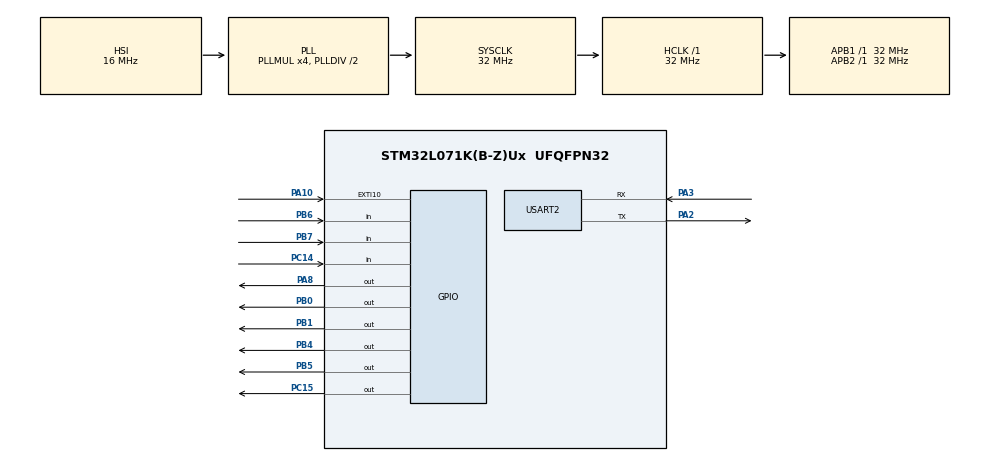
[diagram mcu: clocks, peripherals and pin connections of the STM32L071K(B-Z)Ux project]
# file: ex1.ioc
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Dma.MEMTOMEM.0.Direction=DMA_MEMORY_TO_MEMORY
Dma.MEMTOMEM.0.Instance=DMA1_Channel1
Dma.MEMTOMEM.0.MemDataAlignment=DMA_MDATAALIGN_BYTE
Dma.MEMTOMEM.0.MemInc=DMA_MINC_ENABLE
Dma.MEMTOMEM.0.Mode=DMA_NORMAL
Dma.MEMTOMEM.0.PeriphDataAlignment=DMA_PDATAALIGN_BYTE
Dma.MEMTOMEM.0.PeriphInc=DMA_PINC_ENABLE
Dma.MEMTOMEM.0.Priority=DMA_PRIORITY_LOW
Dma.Request0=MEMTOMEM
Dma.Request1=USART2_RX
Dma.USART2_RX.1.Direction=DMA_PERIPH_TO_MEMORY
Dma.USART2_RX.1.Instance=DMA1_Channel5
Dma.USART2_RX.1.MemDataAlignment=DMA_MDATAALIGN_BYTE
Dma.USART2_RX.1.MemInc=DMA_MINC_ENABLE
Dma.USART2_RX.1.Mode=DMA_CIRCULAR
Dma.USART2_RX.1.PeriphDataAlignment=DMA_PDATAALIGN_BYTE
Dma.USART2_RX.1.PeriphInc=DMA_PINC_DISABLE
Dma.USART2_RX.1.Priority=DMA_PRIORITY_LOW
Mcu.Family=STM32L0
Mcu.Name=STM32L071K(B-Z)Ux
Mcu.Package=UFQFPN32
NVIC.DMA1_Channel1_IRQn=true\:0\:0\:false\:false\:true\:true\:true
NVIC.DMA1_Channel4_5_6_7_IRQn=true\:0\:0\:false\:false\:true\:false\:true
NVIC.EXTI4_15_IRQn=true\:0\:0\:false\:false\:true\:true\:true
NVIC.TIM6_IRQn=true\:0\:0\:false\:false\:true\:true\:true
NVIC.USART2_IRQn=true\:0\:0\:false\:false\:true\:true\:true
PA10.Signal=GPXTI10
PA13.Mode=Serial_Wire
PA13.Signal=SYS_SWDIO
PA14.Mode=Serial_Wire
PA14.Signal=SYS_SWCLK
PA2.Mode=Asynchronous
PA2.Signal=USART2_TX
PA3.Mode=Asynchronous
PA3.Signal=USART2_RX
PA8.Signal=GPIO_Output
PB0.Signal=GPIO_Output
PB1.Signal=GPIO_Output
PB4.Signal=GPIO_Output
PB5.Signal=GPIO_Output
PB6.Signal=GPIO_Input
PB7.Signal=GPIO_Input
PC14-OSC32_IN.Signal=GPIO_Input
PC15-OSC32_OUT.Signal=GPIO_Output
ProjectManager.HeapSize=0x200
ProjectManager.StackSize=0x400
ProjectManager.TargetToolchain=MDK-ARM V5
RCC.AHBFreq_Value=32000000
RCC.APB1Freq_Value=32000000
RCC.APB1TimFreq_Value=32000000
RCC.APB2Freq_Value=32000000
RCC.APB2TimFreq_Value=32000000
RCC.HCLKFreq_Value=32000000
RCC.HSI16_VALUE=16000000
RCC.HSI_VALUE=16000000
RCC.LSE_VALUE=32768
RCC.MSI_VALUE=2097000
RCC.PLLMUL=RCC_PLLMUL_4
RCC.SYSCLKFreq_VALUE=32000000
RCC.SYSCLKSource=RCC_SYSCLKSOURCE_PLLCLK
RCC.VCOOutputFreq_Value=64000000
RTC.Format=RTC_FORMAT_BIN
RTC.SynchPrediv=307
TIM6.Period=999
TIM6.Prescaler=31
USART2.VirtualMode-Asynchronous=VM_ASYNC
VP_CRC_VS_CRC.Mode=CRC_Activate
VP_RTC_VS_RTC_Activate.Mode=RTC_Enabled
VP_RTC_VS_RTC_Calendar.Mode=RTC_Calendar
VP_TIM6_VS_ClockSourceINT.Mode=Enable_Timer
board=custom

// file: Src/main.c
/* USER CODE BEGIN Header */
/**
  ******************************************************************************
  * @file           : main.c
  * @brief          : Main program body
  ******************************************************************************
  * @attention
  *
  * <h2><center>&copy; Copyright (c) 2019 STMicroelectronics.
  * All rights reserved.</center></h2>
  *
  * This software component is licensed by ST under BSD 3-Clause license,
  * the "License"; You may not use this file except in compliance with the
  * License. You may obtain a copy of the License at:
  *                        opensource.org/licenses/BSD-3-Clause
  *
  ******************************************************************************
  */
/* USER CODE END Header */

#include "main.h"
#include "crc.h"
#include "dma.h"
#include "rtc.h"
#include "tim.h"
#include "usart.h"
#include "gpio.h"

/* USER CODE BEGIN Includes */
#include "stm32l0xx_hal.h"
#include "zm4xx_gpio.h"
#include "spi.h"
#include "timer.h"
#include "stddef.h"
#include "sx127x_lora.h"

/* USER CODE END Includes */

/* USER CODE BEGIN PTD */
#define FREQ  (433000000)
void SystemClock_Config(void);
void Hardware_Init(void);
radio_handle_t  handle;
int ret = RADIO_RET_OK;

    uint16_t len = 0;
		uint8_t rx[50];
		uint8_t tx = 0x55;
		uint8_t cntr = 0;
	unsigned int time_i=0,time_100ms=1,time_800ms=1;
	unsigned int lora_flag=0;
/* USER CODE END PTD */

void SystemClock_Config(void);

/* USER CODE BEGIN 0 */
void Task_BrdInit(void)
{
    HAL_GPIO_WritePin(GPIOC, GPIO_PIN_15, GPIO_PIN_SET);

    OLED_PowerControl(ENABLE);

    HAL_Delay(200);
    OLED_Init();
    OLED_Clear();

    OLED_ShowString(0, 0, (unsigned char *)"                ", 16);
    OLED_ShowString(0, 2, (unsigned char *)"                ", 16);
}
void LoRa_Init(void)
{

	handle = radio_zm4xx_inst_init(spi_recv_byte,spi_send_byte,zm4xx_rst_pin_set,zm4xx_sel_pin_set,delay_ms,delay_us);

	if(handle != NULL){
		if(RADIO_RET_OK == radio_freq_set(handle, FREQ)){
				HAL_GPIO_WritePin(GPIOC, GPIO_PIN_15,GPIO_PIN_RESET);
		}

		radio_mode_set(handle, RX_MODE);	//Receive Mode
	}
}
/* USER CODE END 0 */

int main(void)
{
  /* USER CODE BEGIN 1 */
    char lcdLine_1st_line[16];
    char lcdLine_2st_line[16];

  /* USER CODE END 1 */

  /* MCU Configuration--------------------------------------------------------*/

  /* Reset of all peripherals, Initializes the Flash interface and the Systick. */
  HAL_Init();

  /* Configure the system clock */
  SystemClock_Config();

  /* Initialize all configured peripherals */
  MX_GPIO_Init();
  MX_DMA_Init();
  MX_CRC_Init();
  MX_USART2_UART_Init();
  MX_RTC_Init();
  MX_TIM6_Init();
  /* USER CODE BEGIN 2 */
    Task_BrdInit();
		zm4xx_pin_init(); //LORA��Ҫ
    spi_init();//LORA��Ҫ
		LoRa_Init();
		HAL_TIM_Base_Start_IT(&htim6);
		sprintf(lcdLine_1st_line, "GXCT IOT       ");
		sprintf(lcdLine_2st_line, "Hello World    ");
  /* USER CODE END 2 */

  /* Infinite loop */
    while (1)
    {

    /* USER CODE BEGIN 3 */
			if(time_800ms==1)
			{
				HAL_RTC_GetTime(&hrtc, &sTime, RTC_FORMAT_BIN);
				HAL_RTC_GetDate(&hrtc, &sDate, RTC_FORMAT_BIN);
			}
			if(time_100ms==1)
			{
//				sprintf(lcdLine_1st_line, "GXCT IOT       ");
//				sprintf(lcdLine_2st_line, "Hello World    ");
				OLED_ShowString(0, 0, rx, 16);
				OLED_ShowString(0, 2, (unsigned char *)lcdLine_2st_line, 16);
			}
    }
  /* USER CODE END 3 */
}
/* USER CODE BEGIN 4 */
void HAL_TIM_PeriodElapsedCallback(TIM_HandleTypeDef *htim)
{
	if(htim->Instance==TIM6)
	{
		time_i++;
		if(time_i==9999)	time_i=0;
		if(time_i%100==0)	time_100ms=!time_100ms;
		if(time_i%800==0)	time_800ms=!time_800ms;
	}
}
void HAL_GPIO_EXTI_Callback(uint16_t GPIO_Pin)
{
	if(GPIO_Pin==GPIO_PIN_10)
	{
		ret = radio_buf_recv(handle, rx, &len);
		lora_flag=1;
	}
}
//ret = radio_buf_recv(handle, &rx, &len);
//			if(ret == RADIO_RET_OK){
//				if(rx == 0xAA){
//						HAL_GPIO_TogglePin(GPIOC, GPIO_PIN_15);
//				}
//			}
//
//			if(++cntr == 40){
//				radio_buf_send(handle, &tx, 1); 	//
//				radio_mode_set(handle, RX_MODE);
//				cntr = 0;
//			}
/* USER CODE END 4 */
void SystemClock_Config(void)
{
  RCC_OscInitTypeDef RCC_OscInitStruct = {0};
  RCC_ClkInitTypeDef RCC_ClkInitStruct = {0};
  RCC_PeriphCLKInitTypeDef PeriphClkInit = {0};

  /** Configure the main internal regulator output voltage
  */
  __HAL_PWR_VOLTAGESCALING_CONFIG(PWR_REGULATOR_VOLTAGE_SCALE1);
  /** Initializes the CPU, AHB and APB busses clocks
  */
  RCC_OscInitStruct.OscillatorType = RCC_OSCILLATORTYPE_HSI|RCC_OSCILLATORTYPE_LSI;
  RCC_OscInitStruct.HSIState = RCC_HSI_ON;
  RCC_OscInitStruct.HSICalibrationValue = RCC_HSICALIBRATION_DEFAULT;
  RCC_OscInitStruct.LSIState = RCC_LSI_ON;
  RCC_OscInitStruct.PLL.PLLState = RCC_PLL_ON;
  RCC_OscInitStruct.PLL.PLLSource = RCC_PLLSOURCE_HSI;
  RCC_OscInitStruct.PLL.PLLMUL = RCC_PLLMUL_4;
  RCC_OscInitStruct.PLL.PLLDIV = RCC_PLLDIV_2;
  if (HAL_RCC_OscConfig(&RCC_OscInitStruct) != HAL_OK)
  {
    Error_Handler();
  }
  /** Initializes the CPU, AHB and APB busses clocks
  */
  RCC_ClkInitStruct.ClockType = RCC_CLOCKTYPE_HCLK|RCC_CLOCKTYPE_SYSCLK
                              |RCC_CLOCKTYPE_PCLK1|RCC_CLOCKTYPE_PCLK2;
  RCC_ClkInitStruct.SYSCLKSource = RCC_SYSCLKSOURCE_PLLCLK;
  RCC_ClkInitStruct.AHBCLKDivider = RCC_SYSCLK_DIV1;
  RCC_ClkInitStruct.APB1CLKDivider = RCC_HCLK_DIV1;
  RCC_ClkInitStruct.APB2CLKDivider = RCC_HCLK_DIV1;

  if (HAL_RCC_ClockConfig(&RCC_ClkInitStruct, FLASH_LATENCY_1) != HAL_OK)
  {
    Error_Handler();
  }
  PeriphClkInit.PeriphClockSelection = RCC_PERIPHCLK_USART2|RCC_PERIPHCLK_RTC;
  PeriphClkInit.Usart2ClockSelection = RCC_USART2CLKSOURCE_PCLK1;
  PeriphClkInit.RTCClockSelection = RCC_RTCCLKSOURCE_LSI;
  if (HAL_RCCEx_PeriphCLKConfig(&PeriphClkInit) != HAL_OK)
  {
    Error_Handler();
  }
}

void Error_Handler(void)
{
}

/************************ (C) COPYRIGHT STMicroelectronics *****END OF FILE****/
